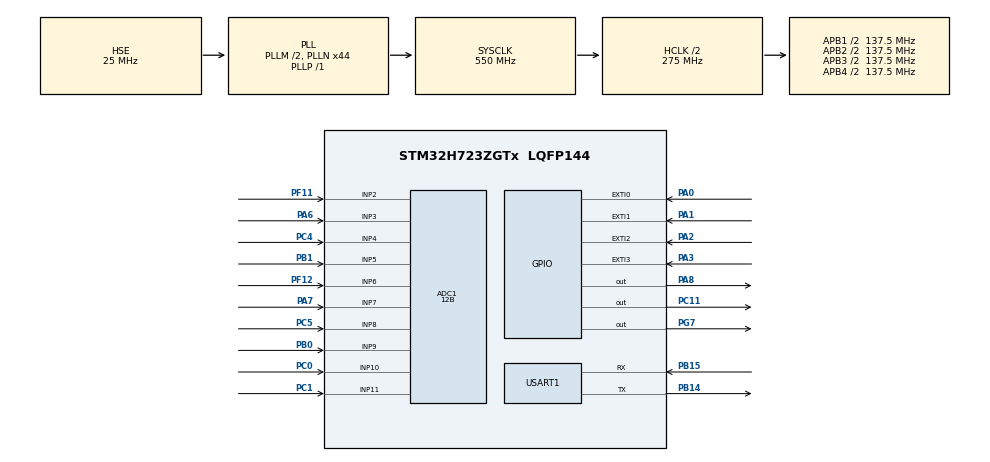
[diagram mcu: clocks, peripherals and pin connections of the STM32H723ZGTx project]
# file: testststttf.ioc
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ADC1.Channel-0\#ChannelRegularConversion=ADC_CHANNEL_2
ADC1.Channel-1\#ChannelRegularConversion=ADC_CHANNEL_3
ADC1.Channel-2\#ChannelRegularConversion=ADC_CHANNEL_4
ADC1.Channel-3\#ChannelRegularConversion=ADC_CHANNEL_5
ADC1.Channel-4\#ChannelRegularConversion=ADC_CHANNEL_6
ADC1.Channel-5\#ChannelRegularConversion=ADC_CHANNEL_7
ADC1.Channel-6\#ChannelRegularConversion=ADC_CHANNEL_8
ADC1.Channel-7\#ChannelRegularConversion=ADC_CHANNEL_9
ADC1.Channel-8\#ChannelRegularConversion=ADC_CHANNEL_10
ADC1.Channel-9\#ChannelRegularConversion=ADC_CHANNEL_11
ADC1.ContinuousConvMode=ENABLE
ADC1.ConversionDataManagement=ADC_CONVERSIONDATA_DMA_CIRCULAR
ADC1.NbrOfConversion=10
ADC1.NbrOfConversionFlag=1
ADC1.OffsetNumber-0\#ChannelRegularConversion=ADC_OFFSET_NONE
ADC1.OffsetNumber-1\#ChannelRegularConversion=ADC_OFFSET_NONE
ADC1.OffsetNumber-2\#ChannelRegularConversion=ADC_OFFSET_NONE
ADC1.OffsetNumber-3\#ChannelRegularConversion=ADC_OFFSET_NONE
ADC1.OffsetNumber-4\#ChannelRegularConversion=ADC_OFFSET_NONE
ADC1.OffsetNumber-5\#ChannelRegularConversion=ADC_OFFSET_NONE
ADC1.OffsetNumber-6\#ChannelRegularConversion=ADC_OFFSET_NONE
ADC1.OffsetNumber-7\#ChannelRegularConversion=ADC_OFFSET_NONE
ADC1.OffsetNumber-8\#ChannelRegularConversion=ADC_OFFSET_NONE
ADC1.OffsetNumber-9\#ChannelRegularConversion=ADC_OFFSET_NONE
ADC1.OffsetSignedSaturation-0\#ChannelRegularConversion=DISABLE
ADC1.Rank-0\#ChannelRegularConversion=1
ADC1.Rank-1\#ChannelRegularConversion=2
ADC1.Rank-2\#ChannelRegularConversion=3
ADC1.Rank-3\#ChannelRegularConversion=4
ADC1.Rank-4\#ChannelRegularConversion=5
ADC1.Rank-5\#ChannelRegularConversion=6
ADC1.Rank-6\#ChannelRegularConversion=7
ADC1.Rank-7\#ChannelRegularConversion=8
ADC1.Rank-8\#ChannelRegularConversion=9
ADC1.Rank-9\#ChannelRegularConversion=10
ADC1.Resolution=ADC_RESOLUTION_12B
ADC1.SamplingTime-0\#ChannelRegularConversion=ADC_SAMPLETIME_1CYCLE_5
ADC1.SamplingTime-1\#ChannelRegularConversion=ADC_SAMPLETIME_1CYCLE_5
ADC1.SamplingTime-2\#ChannelRegularConversion=ADC_SAMPLETIME_1CYCLE_5
ADC1.SamplingTime-3\#ChannelRegularConversion=ADC_SAMPLETIME_1CYCLE_5
ADC1.SamplingTime-4\#ChannelRegularConversion=ADC_SAMPLETIME_1CYCLE_5
ADC1.SamplingTime-5\#ChannelRegularConversion=ADC_SAMPLETIME_1CYCLE_5
ADC1.SamplingTime-6\#ChannelRegularConversion=ADC_SAMPLETIME_1CYCLE_5
ADC1.SamplingTime-7\#ChannelRegularConversion=ADC_SAMPLETIME_1CYCLE_5
ADC1.SamplingTime-8\#ChannelRegularConversion=ADC_SAMPLETIME_1CYCLE_5
ADC1.SamplingTime-9\#ChannelRegularConversion=ADC_SAMPLETIME_1CYCLE_5
ADC1.master=1
Dma.ADC1.0.Direction=DMA_PERIPH_TO_MEMORY
Dma.ADC1.0.EventEnable=DISABLE
Dma.ADC1.0.FIFOMode=DMA_FIFOMODE_DISABLE
Dma.ADC1.0.Instance=DMA1_Stream0
Dma.ADC1.0.MemDataAlignment=DMA_MDATAALIGN_HALFWORD
Dma.ADC1.0.MemInc=DMA_MINC_ENABLE
Dma.ADC1.0.Mode=DMA_CIRCULAR
Dma.ADC1.0.PeriphDataAlignment=DMA_PDATAALIGN_HALFWORD
Dma.ADC1.0.PeriphInc=DMA_PINC_DISABLE
Dma.ADC1.0.Polarity=HAL_DMAMUX_REQ_GEN_RISING
Dma.ADC1.0.Priority=DMA_PRIORITY_LOW
Dma.ADC1.0.RequestNumber=1
Dma.ADC1.0.SignalID=NONE
Dma.ADC1.0.SyncEnable=DISABLE
Dma.ADC1.0.SyncPolarity=HAL_DMAMUX_SYNC_NO_EVENT
Dma.ADC1.0.SyncRequestNumber=1
Dma.ADC1.0.SyncSignalID=NONE
Dma.Request0=ADC1
Mcu.Family=STM32H7
Mcu.Name=STM32H723ZGTx
Mcu.Package=LQFP144
NVIC.ADC_IRQn=true\:0\:0\:false\:false\:true\:true\:true\:true
NVIC.DMA1_Stream0_IRQn=true\:0\:0\:false\:false\:true\:false\:true\:true
NVIC.EXTI0_IRQn=true\:0\:0\:false\:false\:true\:true\:true\:true
NVIC.EXTI1_IRQn=true\:0\:0\:false\:false\:true\:true\:true\:true
NVIC.EXTI2_IRQn=true\:0\:0\:false\:false\:true\:true\:true\:true
NVIC.EXTI3_IRQn=true\:0\:0\:false\:false\:true\:true\:true\:true
NVIC.PriorityGroup=NVIC_PRIORITYGROUP_4
PA0.Signal=GPXTI0
PA1.Signal=GPXTI1
PA2.Signal=GPXTI2
PA3.Signal=GPXTI3
PA6.Signal=ADCx_INP3
PA7.Signal=ADCx_INP7
PA8.Signal=GPIO_Output
PB0.Signal=ADCx_INP9
PB1.Signal=ADCx_INP5
PB14.Mode=Asynchronous
PB14.Signal=USART1_TX
PB15.Mode=Asynchronous
PB15.Signal=USART1_RX
PC0.Signal=ADCx_INP10
PC1.Signal=ADCx_INP11
PC11.Signal=GPIO_Output
PC4.Signal=ADCx_INP4
PC5.Signal=ADCx_INP8
PF11.Mode=IN2-Single-Ended
PF11.Signal=ADC1_INP2
PF12.Mode=IN6-Single-Ended
PF12.Signal=ADC1_INP6
PG7.Signal=GPIO_Output
PH0-OSC_IN.Mode=HSE-External-Oscillator
PH0-OSC_IN.Signal=RCC_OSC_IN
PH1-OSC_OUT.Mode=HSE-External-Oscillator
PH1-OSC_OUT.Signal=RCC_OSC_OUT
ProjectManager.HeapSize=0x200
ProjectManager.StackSize=0x400
ProjectManager.TargetToolchain=STM32CubeIDE
RCC.ADCFreq_Value=100000000
RCC.APB1Freq_Value=137500000
RCC.APB2Freq_Value=137500000
RCC.APB3Freq_Value=137500000
RCC.APB4Freq_Value=137500000
RCC.CortexFreq_Value=550000000
RCC.D1PPRE=RCC_APB3_DIV2
RCC.D2PPRE1=RCC_APB1_DIV2
RCC.D2PPRE2=RCC_APB2_DIV2
RCC.D3PPRE=RCC_APB4_DIV2
RCC.DIVM1=2
RCC.DIVM2=2
RCC.DIVN1=44
RCC.DIVN2=16
RCC.DIVP1=1
RCC.HCLKFreq_Value=275000000
RCC.HPRE=RCC_HCLK_DIV2
RCC.PLLFRACN=0
RCC.PLLSourceVirtual=RCC_PLLSOURCE_HSE
RCC.SYSCLKFreq_VALUE=550000000
RCC.SYSCLKSource=RCC_SYSCLKSOURCE_PLLCLK
RCC.USBFreq_Value=275000000
SH.ADCx_INP10.0=ADC1_INP10,IN10-Single-Ended
SH.ADCx_INP11.0=ADC1_INP11,IN11-Single-Ended
SH.ADCx_INP3.0=ADC1_INP3,IN3-Single-Ended
SH.ADCx_INP4.0=ADC1_INP4,IN4-Single-Ended
SH.ADCx_INP5.0=ADC1_INP5,IN5-Single-Ended
SH.ADCx_INP7.0=ADC1_INP7,IN7-Single-Ended
SH.ADCx_INP8.0=ADC1_INP8,IN8-Single-Ended
SH.ADCx_INP9.0=ADC1_INP9,IN9-Single-Ended
USART1.VirtualMode-Asynchronous=VM_ASYNC
board=custom

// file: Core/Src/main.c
/* USER CODE BEGIN Header */
/**
  ******************************************************************************
  * @file           : main.c
  * @brief          : Main program body
  ******************************************************************************
  * @attention
  *
  * Copyright (c) 2024 STMicroelectronics.
  * All rights reserved.
  *
  * This software is licensed under terms that can be found in the LICENSE file
  * in the root directory of this software component.
  * If no LICENSE file comes with this software, it is provided AS-IS.
  *
  ******************************************************************************
  */
/* USER CODE END Header */
#include "main.h"

ADC_HandleTypeDef hadc1;
DMA_HandleTypeDef hdma_adc1;

UART_HandleTypeDef huart1;

/* USER CODE BEGIN PV */
// #### LINE SENSOR VARIABLES ####

#define line_sensor_front_total_channel 10
#define line_sensor_back_total_channel 10

#define line_sensor_front_trigger_threshhold 400
#define line_sensor_back_trigger_threshhold 400

int _line_read_value;

volatile uint16_t line_sensor_front_values_dma[line_sensor_front_total_channel];
volatile uint16_t line_sensor_back_values_dma[line_sensor_back_total_channel];

volatile uint16_t line_sensor_front_values_calibrated[line_sensor_front_total_channel];
volatile uint16_t line_sensor_back_values_calibrated[line_sensor_back_total_channel];

volatile uint8_t line_sensor_front_on_line_left_number, line_sensor_front_on_line_middle_number, line_sensor_front_on_line_right_number;
volatile uint8_t line_sensor_front_on_line_total_number;

volatile uint8_t line_sensor_back_on_line_left_number, line_sensor_back_on_line_middle_number, line_sensor_back_on_line_right_number;
volatile uint8_t line_sensor_back_on_line_total_number;

uint16_t line_sensor_front_max_sensor_vales[line_sensor_front_total_channel] = {3000, 3004, 2980, 2995, 3000, 3003, 3008, 2985, 2999, 3000};
uint16_t line_sensor_front_min_sensor_vales[line_sensor_back_total_channel] = {1830, 1400, 1100, 880, 2200, 1150, 1040, 1000, 1350, 2100};

uint16_t line_sensor_back_max_sensor_vales[line_sensor_front_total_channel] = {3000, 3004, 2980, 2995, 3000, 3003, 3008, 2985, 2999, 3000};
uint16_t line_sensor_back_min_sensor_vales[line_sensor_back_total_channel] = {1830, 1400, 1100, 880, 2200, 1150, 1040, 1000, 1350, 2100};

const int line_sensor_front_channel_number = sizeof(line_sensor_front_values_dma)/sizeof(line_sensor_front_values_dma[0]);
const int line_sensor_back_channel_number = sizeof(line_sensor_back_values_dma)/sizeof(line_sensor_back_values_dma[0]);

volatile uint16_t line_sensor_front_read_line_value;
volatile uint16_t line_sensor_back_read_line_value;

// #### END LINE SENSOR VARIABLES ####

// -o-o-o-o-o-o-o-o-o-o-o-o-o-o-o-o-o-

/* USER CODE END PV */

void SystemClock_Config(void);
static void MX_GPIO_Init(void);
static void MX_DMA_Init(void);
static void MX_ADC1_Init(void);
static void MX_USART1_UART_Init(void);

int main(void)
{

  /* MCU Configuration--------------------------------------------------------*/

  /* Reset of all peripherals, Initializes the Flash interface and the Systick. */
  HAL_Init();

  /* Configure the system clock */
  SystemClock_Config();

  /* Initialize all configured peripherals */
  MX_GPIO_Init();
  MX_DMA_Init();
  MX_ADC1_Init();
  MX_USART1_UART_Init();
  /* USER CODE BEGIN 2 */

  HAL_ADC_Start_DMA(&hadc1,(uint16_t*) line_sensor_front_values_dma, line_sensor_front_channel_number);

  /* USER CODE END 2 */

  /* Infinite loop */
  /* USER CODE BEGIN WHILE */
  while (1)
  {

	  HAL_GPIO_TogglePin(GPIOG, GPIO_PIN_7);
	  HAL_Delay(1000);

    /* USER CODE END WHILE */

  }
}

void SystemClock_Config(void)
{
  RCC_OscInitTypeDef RCC_OscInitStruct = {0};
  RCC_ClkInitTypeDef RCC_ClkInitStruct = {0};

  /** Supply configuration update enable
  */
  HAL_PWREx_ConfigSupply(PWR_LDO_SUPPLY);

  /** Configure the main internal regulator output voltage
  */
  __HAL_PWR_VOLTAGESCALING_CONFIG(PWR_REGULATOR_VOLTAGE_SCALE0);

  while(!__HAL_PWR_GET_FLAG(PWR_FLAG_VOSRDY)) {}

  /** Initializes the RCC Oscillators according to the specified parameters
  * in the RCC_OscInitTypeDef structure.
  */
  RCC_OscInitStruct.OscillatorType = RCC_OSCILLATORTYPE_HSE;
  RCC_OscInitStruct.HSEState = RCC_HSE_ON;
  RCC_OscInitStruct.PLL.PLLState = RCC_PLL_ON;
  RCC_OscInitStruct.PLL.PLLSource = RCC_PLLSOURCE_HSE;
  RCC_OscInitStruct.PLL.PLLM = 2;
  RCC_OscInitStruct.PLL.PLLN = 44;
  RCC_OscInitStruct.PLL.PLLP = 1;
  RCC_OscInitStruct.PLL.PLLQ = 2;
  RCC_OscInitStruct.PLL.PLLR = 2;
  RCC_OscInitStruct.PLL.PLLRGE = RCC_PLL1VCIRANGE_3;
  RCC_OscInitStruct.PLL.PLLVCOSEL = RCC_PLL1VCOWIDE;
  RCC_OscInitStruct.PLL.PLLFRACN = 0;
  if (HAL_RCC_OscConfig(&RCC_OscInitStruct) != HAL_OK)
  {
    Error_Handler();
  }

  /** Initializes the CPU, AHB and APB buses clocks
  */
  RCC_ClkInitStruct.ClockType = RCC_CLOCKTYPE_HCLK|RCC_CLOCKTYPE_SYSCLK
                              |RCC_CLOCKTYPE_PCLK1|RCC_CLOCKTYPE_PCLK2
                              |RCC_CLOCKTYPE_D3PCLK1|RCC_CLOCKTYPE_D1PCLK1;
  RCC_ClkInitStruct.SYSCLKSource = RCC_SYSCLKSOURCE_PLLCLK;
  RCC_ClkInitStruct.SYSCLKDivider = RCC_SYSCLK_DIV1;
  RCC_ClkInitStruct.AHBCLKDivider = RCC_HCLK_DIV2;
  RCC_ClkInitStruct.APB3CLKDivider = RCC_APB3_DIV2;
  RCC_ClkInitStruct.APB1CLKDivider = RCC_APB1_DIV2;
  RCC_ClkInitStruct.APB2CLKDivider = RCC_APB2_DIV2;
  RCC_ClkInitStruct.APB4CLKDivider = RCC_APB4_DIV2;

  if (HAL_RCC_ClockConfig(&RCC_ClkInitStruct, FLASH_LATENCY_3) != HAL_OK)
  {
    Error_Handler();
  }
}

static void MX_ADC1_Init(void)
{

  ADC_MultiModeTypeDef multimode = {0};
  ADC_ChannelConfTypeDef sConfig = {0};

  /** Common config
  */
  hadc1.Instance = ADC1;
  hadc1.Init.ClockPrescaler = ADC_CLOCK_ASYNC_DIV1;
  hadc1.Init.Resolution = ADC_RESOLUTION_12B;
  hadc1.Init.ScanConvMode = ADC_SCAN_ENABLE;
  hadc1.Init.EOCSelection = ADC_EOC_SINGLE_CONV;
  hadc1.Init.LowPowerAutoWait = DISABLE;
  hadc1.Init.ContinuousConvMode = ENABLE;
  hadc1.Init.NbrOfConversion = 10;
  hadc1.Init.DiscontinuousConvMode = DISABLE;
  hadc1.Init.ExternalTrigConv = ADC_SOFTWARE_START;
  hadc1.Init.ExternalTrigConvEdge = ADC_EXTERNALTRIGCONVEDGE_NONE;
  hadc1.Init.ConversionDataManagement = ADC_CONVERSIONDATA_DMA_CIRCULAR;
  hadc1.Init.Overrun = ADC_OVR_DATA_PRESERVED;
  hadc1.Init.LeftBitShift = ADC_LEFTBITSHIFT_NONE;
  hadc1.Init.OversamplingMode = DISABLE;
  if (HAL_ADC_Init(&hadc1) != HAL_OK)
  {
    Error_Handler();
  }

  /** Configure the ADC multi-mode
  */
  multimode.Mode = ADC_MODE_INDEPENDENT;
  if (HAL_ADCEx_MultiModeConfigChannel(&hadc1, &multimode) != HAL_OK)
  {
    Error_Handler();
  }

  /** Configure Regular Channel
  */
  sConfig.Channel = ADC_CHANNEL_2;
  sConfig.Rank = ADC_REGULAR_RANK_1;
  sConfig.SamplingTime = ADC_SAMPLETIME_1CYCLE_5;
  sConfig.SingleDiff = ADC_SINGLE_ENDED;
  sConfig.OffsetNumber = ADC_OFFSET_NONE;
  sConfig.Offset = 0;
  sConfig.OffsetSignedSaturation = DISABLE;
  if (HAL_ADC_ConfigChannel(&hadc1, &sConfig) != HAL_OK)
  {
    Error_Handler();
  }

  /** Configure Regular Channel
  */
  sConfig.Channel = ADC_CHANNEL_3;
  sConfig.Rank = ADC_REGULAR_RANK_2;
  if (HAL_ADC_ConfigChannel(&hadc1, &sConfig) != HAL_OK)
  {
    Error_Handler();
  }

  /** Configure Regular Channel
  */
  sConfig.Channel = ADC_CHANNEL_4;
  sConfig.Rank = ADC_REGULAR_RANK_3;
  if (HAL_ADC_ConfigChannel(&hadc1, &sConfig) != HAL_OK)
  {
    Error_Handler();
  }

  /** Configure Regular Channel
  */
  sConfig.Channel = ADC_CHANNEL_5;
  sConfig.Rank = ADC_REGULAR_RANK_4;
  if (HAL_ADC_ConfigChannel(&hadc1, &sConfig) != HAL_OK)
  {
    Error_Handler();
  }

  /** Configure Regular Channel
  */
  sConfig.Channel = ADC_CHANNEL_6;
  sConfig.Rank = ADC_REGULAR_RANK_5;
  if (HAL_ADC_ConfigChannel(&hadc1, &sConfig) != HAL_OK)
  {
    Error_Handler();
  }

  /** Configure Regular Channel
  */
  sConfig.Channel = ADC_CHANNEL_7;
  sConfig.Rank = ADC_REGULAR_RANK_6;
  if (HAL_ADC_ConfigChannel(&hadc1, &sConfig) != HAL_OK)
  {
    Error_Handler();
  }

  /** Configure Regular Channel
  */
  sConfig.Channel = ADC_CHANNEL_8;
  sConfig.Rank = ADC_REGULAR_RANK_7;
  if (HAL_ADC_ConfigChannel(&hadc1, &sConfig) != HAL_OK)
  {
    Error_Handler();
  }

  /** Configure Regular Channel
  */
  sConfig.Channel = ADC_CHANNEL_9;
  sConfig.Rank = ADC_REGULAR_RANK_8;
  if (HAL_ADC_ConfigChannel(&hadc1, &sConfig) != HAL_OK)
  {
    Error_Handler();
  }

  /** Configure Regular Channel
  */
  sConfig.Channel = ADC_CHANNEL_10;
  sConfig.Rank = ADC_REGULAR_RANK_9;
  if (HAL_ADC_ConfigChannel(&hadc1, &sConfig) != HAL_OK)
  {
    Error_Handler();
  }

  /** Configure Regular Channel
  */
  sConfig.Channel = ADC_CHANNEL_11;
  sConfig.Rank = ADC_REGULAR_RANK_10;
  if (HAL_ADC_ConfigChannel(&hadc1, &sConfig) != HAL_OK)
  {
    Error_Handler();
  }

}

static void MX_USART1_UART_Init(void)
{

  huart1.Instance = USART1;
  huart1.Init.BaudRate = 115200;
  huart1.Init.WordLength = UART_WORDLENGTH_8B;
  huart1.Init.StopBits = UART_STOPBITS_1;
  huart1.Init.Parity = UART_PARITY_NONE;
  huart1.Init.Mode = UART_MODE_TX_RX;
  huart1.Init.HwFlowCtl = UART_HWCONTROL_NONE;
  huart1.Init.OverSampling = UART_OVERSAMPLING_16;
  huart1.Init.OneBitSampling = UART_ONE_BIT_SAMPLE_DISABLE;
  huart1.Init.ClockPrescaler = UART_PRESCALER_DIV1;
  huart1.AdvancedInit.AdvFeatureInit = UART_ADVFEATURE_NO_INIT;
  if (HAL_UART_Init(&huart1) != HAL_OK)
  {
    Error_Handler();
  }
  if (HAL_UARTEx_SetTxFifoThreshold(&huart1, UART_TXFIFO_THRESHOLD_1_8) != HAL_OK)
  {
    Error_Handler();
  }
  if (HAL_UARTEx_SetRxFifoThreshold(&huart1, UART_RXFIFO_THRESHOLD_1_8) != HAL_OK)
  {
    Error_Handler();
  }
  if (HAL_UARTEx_DisableFifoMode(&huart1) != HAL_OK)
  {
    Error_Handler();
  }

}

static void MX_DMA_Init(void)
{

  /* DMA controller clock enable */
  __HAL_RCC_DMA1_CLK_ENABLE();

  /* DMA interrupt init */
  /* DMA1_Stream0_IRQn interrupt configuration */
  HAL_NVIC_SetPriority(DMA1_Stream0_IRQn, 0, 0);
  HAL_NVIC_EnableIRQ(DMA1_Stream0_IRQn);

}

static void MX_GPIO_Init(void)
{
  GPIO_InitTypeDef GPIO_InitStruct = {0};

  /* GPIO Ports Clock Enable */
  __HAL_RCC_GPIOH_CLK_ENABLE();
  __HAL_RCC_GPIOC_CLK_ENABLE();
  __HAL_RCC_GPIOA_CLK_ENABLE();
  __HAL_RCC_GPIOB_CLK_ENABLE();
  __HAL_RCC_GPIOF_CLK_ENABLE();
  __HAL_RCC_GPIOG_CLK_ENABLE();

  /*Configure GPIO pin Output Level */
  HAL_GPIO_WritePin(GPIOG, GPIO_PIN_7, GPIO_PIN_RESET);

  /*Configure GPIO pin Output Level */
  HAL_GPIO_WritePin(GPIOA, GPIO_PIN_8, GPIO_PIN_RESET);

  /*Configure GPIO pin Output Level */
  HAL_GPIO_WritePin(GPIOC, GPIO_PIN_11, GPIO_PIN_RESET);

  /*Configure GPIO pins : PA0 PA1 PA2 PA3 */
  GPIO_InitStruct.Pin = GPIO_PIN_0|GPIO_PIN_1|GPIO_PIN_2|GPIO_PIN_3;
  GPIO_InitStruct.Mode = GPIO_MODE_IT_RISING;
  GPIO_InitStruct.Pull = GPIO_NOPULL;
  HAL_GPIO_Init(GPIOA, &GPIO_InitStruct);

  /*Configure GPIO pin : PG7 */
  GPIO_InitStruct.Pin = GPIO_PIN_7;
  GPIO_InitStruct.Mode = GPIO_MODE_OUTPUT_PP;
  GPIO_InitStruct.Pull = GPIO_NOPULL;
  GPIO_InitStruct.Speed = GPIO_SPEED_FREQ_LOW;
  HAL_GPIO_Init(GPIOG, &GPIO_InitStruct);

  /*Configure GPIO pin : PA8 */
  GPIO_InitStruct.Pin = GPIO_PIN_8;
  GPIO_InitStruct.Mode = GPIO_MODE_OUTPUT_PP;
  GPIO_InitStruct.Pull = GPIO_NOPULL;
  GPIO_InitStruct.Speed = GPIO_SPEED_FREQ_LOW;
  HAL_GPIO_Init(GPIOA, &GPIO_InitStruct);

  /*Configure GPIO pin : PC11 */
  GPIO_InitStruct.Pin = GPIO_PIN_11;
  GPIO_InitStruct.Mode = GPIO_MODE_OUTPUT_PP;
  GPIO_InitStruct.Pull = GPIO_NOPULL;
  GPIO_InitStruct.Speed = GPIO_SPEED_FREQ_LOW;
  HAL_GPIO_Init(GPIOC, &GPIO_InitStruct);

  /* EXTI interrupt init*/
  HAL_NVIC_SetPriority(EXTI0_IRQn, 0, 0);
  HAL_NVIC_EnableIRQ(EXTI0_IRQn);

  HAL_NVIC_SetPriority(EXTI1_IRQn, 0, 0);
  HAL_NVIC_EnableIRQ(EXTI1_IRQn);

  HAL_NVIC_SetPriority(EXTI2_IRQn, 0, 0);
  HAL_NVIC_EnableIRQ(EXTI2_IRQn);

  HAL_NVIC_SetPriority(EXTI3_IRQn, 0, 0);
  HAL_NVIC_EnableIRQ(EXTI3_IRQn);

}

void Error_Handler(void)
{
  __disable_irq();
  while (1)
  {
  }
}
